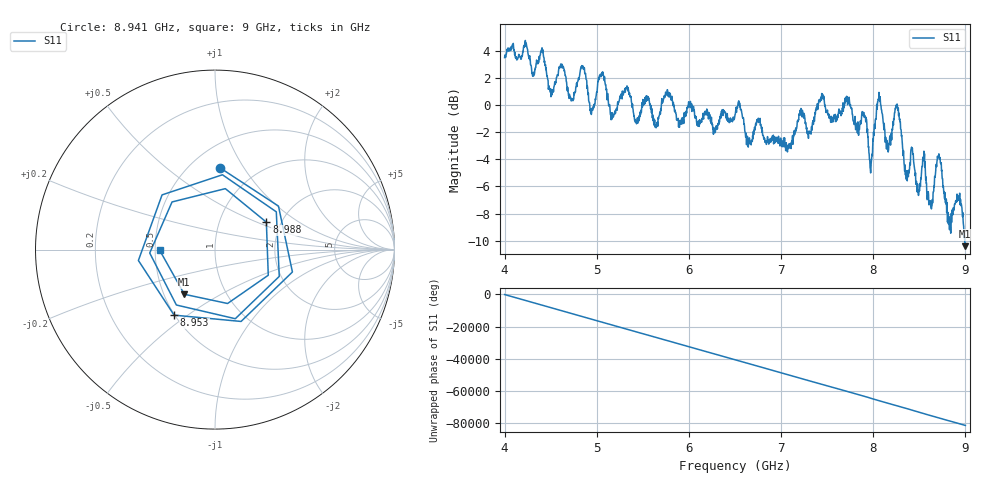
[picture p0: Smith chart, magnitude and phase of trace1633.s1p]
! Created with skrf 1.8.0 (http://scikit-rf.org).
# Hz S RI R 50.0
!freq ReS11 ImS11
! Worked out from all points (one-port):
!   1601 points, 4 GHz to 9 GHz, reference 50 ohm
!   lowest |S11| = -10.4 dB at 8.997 GHz (marker M1), VSWR 1.86, Z = 31.7 - j17.4 ohm
!   |S11| at or under -10 dB: 8.992854 GHz to end of sweep
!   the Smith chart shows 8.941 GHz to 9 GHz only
!   S11 on the Smith chart (normalised r, x): 8.941 GHz: 0.69, +0.79; 8.953 GHz: 0.50, -0.44; 8.988 GHz: 1.68, +0.57; 9 GHz: 0.53, -0.00
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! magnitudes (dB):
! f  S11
! 4 GHz  3.5
! 4.406 GHz  4.2
! 4.509 GHz  1.0
! 4.625 GHz  3.0
! 4.725 GHz  0.3
! 4.844 GHz  2.9
! 4.944 GHz  -0.6
! 5.05 GHz  2.2
! 5.169 GHz  -0.6
! 5.25 GHz  0.6
! 5.875 GHz  -1.1
! 6.5 GHz  -0.7
! 7.125 GHz  -2.2
! 7.75 GHz  0.0
! 7.972 GHz  -5.0
! 8.059 GHz  0.4
! 8.153 GHz  -2.9
! 8.256 GHz  0.0
! 8.375 GHz  -4.9
! 8.547 GHz  -4.1
! 8.625 GHz  -7.5
! 8.712 GHz  -3.6
! 8.828 GHz  -9.2
! 8.941 GHz  -6.8
! 8.953 GHz  -7.3
! 8.988 GHz  -9.8
! 8.997 GHz  -10.4
! 9 GHz  -10.2
